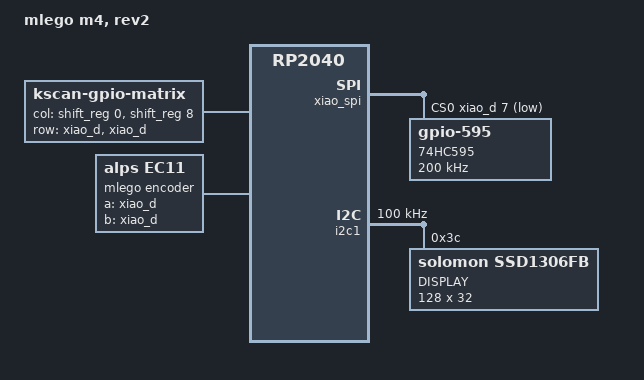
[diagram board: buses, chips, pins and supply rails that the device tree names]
/*
 * Copyright (c) 2022 alin m elena
 * SPDX-License-Identifier: MIT
 */

#include <dt-bindings/zmk/matrix_transform.h>
//#include <dt-bindings/led/led.h>

/ {
   model = "mlego m4, rev2";
   compatible = "mlego", "seeduino,xiao_rp2040";

   chosen {
     zmk,kscan = &kscan;
     zephyr,display = &oled;
/*
     zmk,led-widgets-dev = &leds_i;
     zmk,led-capslock = &led_capslock;
*/
   };

   kscan: kscan {
     compatible = "zmk,kscan-gpio-matrix";
     label = "kscan";
     diode-direction = "col2row";
     col-gpios = <&shift_reg 0 (GPIO_ACTIVE_HIGH)>
                 , <&shift_reg 8 (GPIO_ACTIVE_HIGH)>
                 ;
     row-gpios = <&xiao_d 0(GPIO_ACTIVE_HIGH | GPIO_PULL_DOWN)>
                 ,<&xiao_d 3(GPIO_ACTIVE_HIGH | GPIO_PULL_DOWN)>
                 ;
   };
   mlego_encoder: mlego_encoder {
     compatible = "alps,ec11";
     label = "mlego encoder";
     a-gpios = <&xiao_d 1(GPIO_ACTIVE_HIGH | GPIO_PULL_UP)>;
     b-gpios = <&xiao_d 2(GPIO_ACTIVE_HIGH | GPIO_PULL_UP)>;
     resolution = <4>;
   };

   sensors {
     compatible = "zmk,keymap-sensors";
     sensors = <&mlego_encoder>;
   };
};


&mlego_encoder { 
  status = "okay"; 
};

&xiao_spi {
  status = "okay";

  cs-gpios = <&xiao_d 7 GPIO_ACTIVE_LOW>, <&xiao_d 6 GPIO_ACTIVE_HIGH>;
  shift_reg: 595@0 {
    compatible = "zmk,gpio-595";
    status = "okay";
    gpio-controller;
    spi-max-frequency = <200000>;
    #gpio-cells = <2>;
    reg = <0>;
    label = "74HC595";
    ngpios = <16>;
  };
};

&i2c1_default{
  group1 {
    pinmux = <I2C1_SDA_P6>, <I2C1_SCL_P7>;
    input-enable;
    input-schmitt-enable;
  };
};

&i2c1 {
  status = "okay";
  clock-frequency = <I2C_BITRATE_STANDARD>;

  oled: ssd1306@3c {
    compatible = "solomon,ssd1306fb";
    reg = <0x3c>;
    label = "DISPLAY";
    width = <0x80>;
    height = <0x20>;
    segment-offset = <0x0>;
    page-offset = <0x0>;
    display-offset = <0x0>;
    multiplex-ratio = <0x1f>;
    com-sequential;
    prechargep = <0x22>;
  };
};
